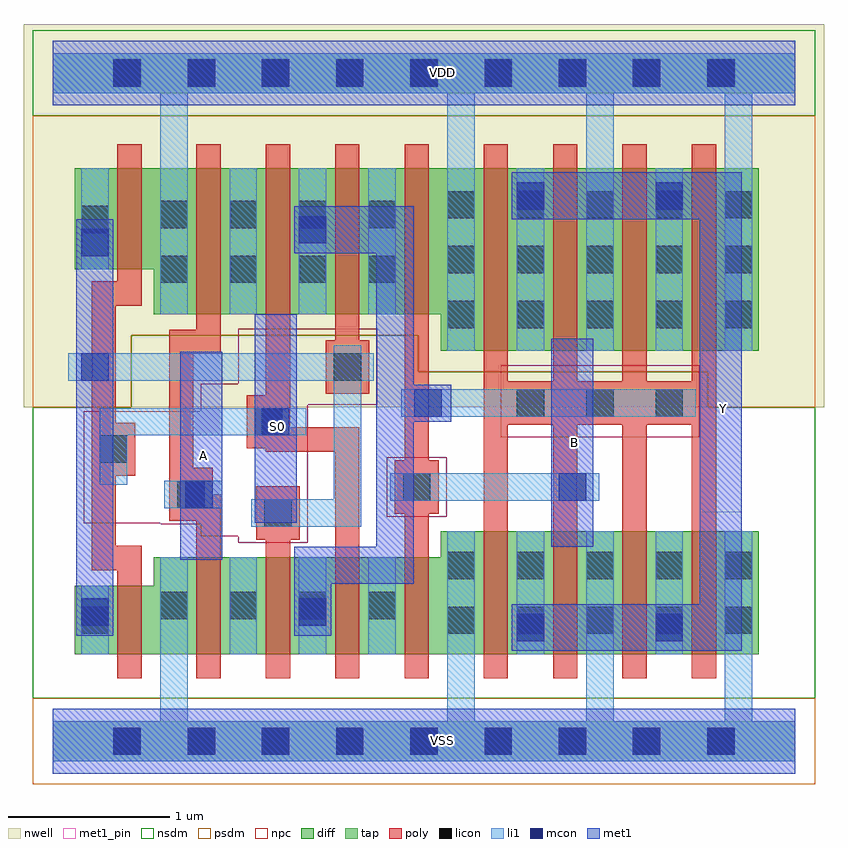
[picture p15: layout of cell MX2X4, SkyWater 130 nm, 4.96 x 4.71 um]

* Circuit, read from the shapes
.subckt MX2X4 A B S0 VDD VSS Y
XM1 VSS S0 n1 VSS sky130_fd_pr__nfet_01v8 w=0.425 l=0.15
XM2 n2 A VSS VSS sky130_fd_pr__nfet_01v8 w=0.6 l=0.15
XM3 n3 n1 n2 VSS sky130_fd_pr__nfet_01v8 w=0.6 l=0.15
XM4 n4 S0 n3 VSS sky130_fd_pr__nfet_01v8 w=0.6 l=0.15
XM5 VSS B n4 VSS sky130_fd_pr__nfet_01v8 w=0.6 l=0.15
XM6 Y n3 VSS VSS sky130_fd_pr__nfet_01v8 w=0.76 l=0.15 m=4
XM7 VDD S0 n1 VDD sky130_fd_pr__pfet_01v8 w=0.625 l=0.15
XM8 n5 A VDD VDD sky130_fd_pr__pfet_01v8 w=0.905 l=0.15
XM9 n3 S0 n5 VDD sky130_fd_pr__pfet_01v8 w=0.905 l=0.15
XM10 n6 n1 n3 VDD sky130_fd_pr__pfet_01v8 w=0.905 l=0.15
XM11 VDD B n6 VDD sky130_fd_pr__pfet_01v8 w=0.905 l=0.15
XM12 Y n3 VDD VDD sky130_fd_pr__pfet_01v8 w=1.13 l=0.15 m=4
.ends

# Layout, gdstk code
from math import pi, radians
import gdstk
lib = gdstk.Library(unit=1e-6, precision=1e-09)
def R(c, l, rs):  # rectangles x0, y0, x1, y1
    for r in rs: c.add(gdstk.rectangle(r[:2], r[2:], *l))
def A(c, l, x, y, w, h, nx, ny, dx, dy):  # array of equal rectangles
    R(c, l, [(x+i*dx, y+j*dy, x+i*dx+w, y+j*dy+h) for i in range(nx) for j in range(ny)])
def P(c, l, *ps):  # polygons
    for p in ps: c.add(gdstk.Polygon(p, *l))
nwell = (64, 20)
diff = (65, 20)
tap = (65, 44)
poly = (66, 20)
licon = (66, 44)
li1 = (67, 20)
mcon = (67, 44)
met1_pin = (68, 16)
met1 = (68, 20)
nsdm = (93, 44)
psdm = (94, 20)
npc = (95, 20)

pyl1con_c_cdns_750710154 = lib.new_cell('PYL1CON_C_CDNS_750710154092')
R(pyl1con_c_cdns_750710154, poly, [(-0.135,-0.165,0.135,0.165)])
R(pyl1con_c_cdns_750710154, licon, [(-0.085,-0.085,0.085,0.085)])
R(pyl1con_c_cdns_750710154, npc, [(-0.185,-0.185,0.185,0.185)])

l1m1_c_cdns_750710154091 = lib.new_cell('L1M1_C_CDNS_750710154091')
R(l1m1_c_cdns_750710154091, li1, [(-0.085,-0.165,0.085,0.165)])
R(l1m1_c_cdns_750710154091, mcon, [(-0.085,-0.085,0.085,0.085)])
R(l1m1_c_cdns_750710154091, met1, [(-0.115,-0.145,0.115,0.145)])

l1m1_c_cdns_750710154093 = lib.new_cell('L1M1_C_CDNS_750710154093')
R(l1m1_c_cdns_750710154093, li1, [(-0.085,-0.165,0.085,0.165)])
R(l1m1_c_cdns_750710154093, mcon, [(-0.085,-0.085,0.085,0.085)])
R(l1m1_c_cdns_750710154093, met1, [(-0.145,-0.115,0.145,0.115)])

l1m1_c_cdns_750710154092 = lib.new_cell('L1M1_C_CDNS_7507101540920')
R(l1m1_c_cdns_750710154092, li1, [(-0.165,-0.085,0.145,0.085)])
R(l1m1_c_cdns_750710154092, mcon, [(-0.085,-0.085,0.085,0.085)])
R(l1m1_c_cdns_750710154092, met1, [(-0.115,-0.145,0.115,0.145)])

l1m1_c_cdns_750710154090 = lib.new_cell('L1M1_C_CDNS_750710154090')
R(l1m1_c_cdns_750710154090, li1, [(-0.165,-0.085,0.165,0.085)])
R(l1m1_c_cdns_750710154090, mcon, [(-0.085,-0.085,0.085,0.085)])
R(l1m1_c_cdns_750710154090, met1, [(-0.115,-0.145,0.115,0.145)])

c_pyl1con_c_cdns_750710154 = lib.new_cell('PYL1CON_C_CDNS_7507101540912')
R(c_pyl1con_c_cdns_750710154, poly, [(-0.165,-0.135,0.165,0.135)])
R(c_pyl1con_c_cdns_750710154, licon, [(-0.085,-0.085,0.085,0.085)])
R(c_pyl1con_c_cdns_750710154, npc, [(-0.185,-0.185,0.185,0.185)])

licondiff_c_cdns_7507101 = lib.new_cell('LICONDIFF_C_CDNS_7507101540911')
R(licondiff_c_cdns_7507101, diff, [(-0.125,-0.145,0.125,0.145)])
R(licondiff_c_cdns_7507101, licon, [(-0.085,-0.085,0.085,0.085), (-0.085,-0.085,0.085,0.085)])

mx2x4 = lib.new_cell('MX2X4')
R(mx2x4, nwell, [(-0.18,2.07,4.78,4.305), (2.225,2.24,4.555,3.73), (0.445,2.465,1.445,3.73), (1.085,2.465,1.875,3.73), (1.515,2.465,2.305,3.73), (1.945,2.465,2.585,3.73), (-0.045,2.745,0.805,3.73), (-0.18,3.875,4.78,4.445)])
A(mx2x4, diff, 0.89, 0.54, 0.15, 0.6, 4, 1, 0.43, 0)
A(mx2x4, diff, 2.67, 0.54, 0.15, 0.76, 4, 1, 0.43, 0)
A(mx2x4, diff, 2.82, 0.54, 0.28, 0.76, 3, 1, 0.43, 0)
A(mx2x4, diff, 2.67, 2.42, 0.15, 1.13, 4, 1, 0.43, 0)
A(mx2x4, diff, 2.82, 2.42, 0.28, 1.13, 3, 1, 0.43, 0)
A(mx2x4, diff, 0.89, 2.645, 0.15, 0.905, 4, 1, 0.43, 0)
A(mx2x4, diff, 1.04, 2.645, 0.225, 0.905, 3, 1, 0.43, 0)
A(mx2x4, diff, 1.265, 2.645, 0.055, 0.905, 3, 1, 0.43, 0)
R(mx2x4, diff, [(0.135,0.54,0.4,0.965), (0.4,0.54,0.55,0.965), (0.55,0.54,0.625,0.965), (0.625,0.54,0.89,1.14), (1.04,0.54,1.095,1.14), (1.095,0.54,1.32,1.14), (1.47,0.54,1.695,1.14), (1.695,0.54,1.75,1.14), (1.9,0.54,2.125,1.14), (2.125,0.54,2.18,1.14), (2.33,0.54,2.405,1.14), (2.405,0.54,2.67,1.3), (4.11,0.54,4.375,1.3), (2.405,2.42,2.67,3.55), (4.11,2.42,4.375,3.55), (0.625,2.645,0.89,3.55), (2.33,2.645,2.405,3.55), (0.135,2.925,0.4,3.55), (0.4,2.925,0.55,3.55), (0.55,2.925,0.625,3.55)])
A(mx2x4, poly, 0.89, 0.39, 0.15, 0.055, 4, 2, 0.43, 3.255)
A(mx2x4, poly, 2.67, 0.39, 0.15, 0.055, 4, 2, 0.43, 1.005)
A(mx2x4, poly, 0.89, 0.445, 0.15, 0.095, 4, 2, 0.43, 3.105)
A(mx2x4, poly, 2.67, 0.445, 0.15, 0.095, 4, 2, 0.43, 0.855)
A(mx2x4, poly, 0.89, 0.54, 0.15, 0.6, 4, 1, 0.43, 0)
A(mx2x4, poly, 2.67, 0.54, 0.15, 0.76, 4, 1, 0.43, 0)
A(mx2x4, poly, 1.32, 1.14, 0.15, 0.095, 3, 1, 0.43, 0)
A(mx2x4, poly, 1.32, 1.235, 0.15, 0.055, 3, 1, 0.43, 0)
A(mx2x4, poly, 2.67, 2.22, 0.15, 0.055, 4, 2, 0.43, 1.425)
A(mx2x4, poly, 2.67, 2.325, 0.15, 0.095, 4, 2, 0.43, 1.225)
A(mx2x4, poly, 2.67, 2.42, 0.15, 1.13, 4, 1, 0.43, 0)
A(mx2x4, poly, 0.89, 2.445, 0.15, 0.055, 3, 1, 0.43, 0)
A(mx2x4, poly, 0.89, 2.645, 0.15, 0.905, 4, 1, 0.43, 0)
R(mx2x4, poly, [(0.4,0.39,0.55,0.445), (0.4,0.445,0.55,0.54), (0.4,0.54,0.55,0.965), (0.4,0.965,0.55,1.06), (0.4,1.06,0.55,1.115), (0.89,1.14,1.04,1.28), (0.89,1.32,1.04,1.375), (1.75,2.48,1.9,2.645), (2.18,2.495,2.33,2.55), (0.89,2.55,1.04,2.645), (1.32,2.55,1.47,2.645), (2.18,2.55,2.33,2.645), (0.4,2.775,0.55,2.83), (0.4,2.83,0.55,2.925), (0.4,2.925,0.55,3.55), (0.4,3.55,0.55,3.645), (0.4,3.645,0.55,3.7)])
A(mx2x4, licon, 0.375, -0.085, 0.17, 0.17, 9, 2, 0.46, 4.14)
A(mx2x4, licon, 2.445, 0.665, 0.17, 0.17, 5, 2, 0.43, 0.34)
A(mx2x4, licon, 2.445, 2.56, 0.17, 0.17, 5, 3, 0.43, 0.34)
R(mx2x4, licon, [(0.175,0.665,0.345,0.835), (0.665,0.755,0.835,0.925), (1.525,0.755,1.695,0.925), (0.665,2.84,0.835,3.01), (1.525,2.84,1.695,3.01), (0.175,3.15,0.345,3.32), (0.665,3.18,0.835,3.35), (1.525,3.18,1.695,3.35)])
A(mx2x4, li1, 2.445, 0.54, 0.17, 0.76, 5, 1, 0.43, 0)
A(mx2x4, li1, 2.445, 2.42, 0.17, 1.13, 5, 1, 0.43, 0)
R(mx2x4, li1, [(0.175,0.54,0.345,0.965), (0.665,0.54,0.835,1.14), (1.525,0.54,1.695,1.14), (0.665,2.645,0.835,3.55), (1.525,2.645,1.695,3.55), (0.175,2.925,0.345,3.55)])
A(mx2x4, mcon, 0.375, -0.085, 0.17, 0.17, 9, 2, 0.46, 4.14)
R(mx2x4, met1_pin, [(0.79,1.125,1.05,2.415), (3.09,1.205,3.35,2.495), (1.25,1.355,1.51,2.645), (4.01,1.42,4.27,2.71)])
R(mx2x4, nsdm, [(-0.005,0.41,0.505,1.095), (0.485,0.41,1.105,1.27), (1.085,0.41,1.705,1.27), (1.685,0.41,2.135,1.27), (2.115,0.41,2.285,1.27), (2.265,0.41,4.515,1.43), (-0.125,3.875,4.725,4.405), (-0.125,3.93,4.725,4.35)])
P(mx2x4, nsdm, [(4.725,2.07),(4.06,2.07),(4.06,2.29),(2.265,2.29),(2.265,2.515),(0.485,2.515),(0.485,2.07),(-0.125,2.07),(-0.125,0.265),(4.725,0.265)])
R(mx2x4, psdm, [(-0.125,-0.265,4.725,0.265), (-0.125,-0.21,4.725,0.21), (2.265,2.29,4.515,3.68), (0.485,2.515,1.275,3.68), (1.255,2.515,1.705,3.68), (1.685,2.515,2.135,3.68), (2.115,2.515,2.285,3.68), (-0.005,2.795,0.505,3.68)])
P(mx2x4, psdm, [(4.725,3.875),(-0.125,3.875),(-0.125,2.07),(0.485,2.07),(0.485,2.515),(2.265,2.515),(2.265,2.29),(4.06,2.29),(4.06,2.07),(4.725,2.07)])
R(mx2x4, npc, [(1.15,1.23,1.58,2.215), (0.915,1.27,1.21,2.215), (0.19,1.35,0.915,2.045), (2.775,1.885,4.005,2.33), (1.15,2.085,2.01,2.555)])
mx2x4.add(gdstk.FlexPath([(0,0),(4.6,0)], 0.25, ends="flush", simple_path=True, layer=67, datatype=20))  # li1
mx2x4.add(gdstk.FlexPath([(2.44,2.095),(3.985,2.095)], 0.17, ends="flush", simple_path=True, layer=67, datatype=20))  # li1
mx2x4.add(gdstk.FlexPath([(2.53,3.55),(2.53,4.265)], 0.17, ends="flush", simple_path=True, layer=67, datatype=20))  # li1
mx2x4.add(gdstk.FlexPath([(4.25,-0.125),(4.25,0.54)], 0.17, ends="flush", simple_path=True, layer=67, datatype=20))  # li1
mx2x4.add(gdstk.FlexPath([(1.825,1.33),(1.825,2.455)], 0.17, ends="flush", simple_path=True, layer=67, datatype=20))  # li1
mx2x4.add(gdstk.FlexPath([(2.655,1.575),(2.09,1.575)], 0.17, ends="flush", simple_path=True, layer=67, datatype=20))  # li1
mx2x4.add(gdstk.FlexPath([(0.765,1.53),(1.05,1.53)], 0.17, ends=(0.075, 0), simple_path=True, layer=67, datatype=20))  # li1
mx2x4.add(gdstk.FlexPath([(2.04,2.645),(2.04,3.55)], 0.17, ends="flush", simple_path=True, layer=67, datatype=20))  # li1
mx2x4.add(gdstk.FlexPath([(0.75,-0.125),(0.75,0.54)], 0.17, ends="flush", simple_path=True, layer=67, datatype=20))  # li1
mx2x4.add(gdstk.FlexPath([(2.53,-0.125),(2.53,0.54)], 0.17, ends="flush", simple_path=True, layer=67, datatype=20))  # li1
mx2x4.add(gdstk.FlexPath([(1.91,1.415),(1.23,1.415)], 0.17, ends="flush", simple_path=True, layer=67, datatype=20))  # li1
mx2x4.add(gdstk.FlexPath([(1.18,0.54),(1.18,1.14)], 0.17, ends="flush", simple_path=True, layer=67, datatype=20))  # li1
mx2x4.add(gdstk.FlexPath([(1.57,1.98),(0.29,1.98)], 0.17, ends="flush", simple_path=True, layer=67, datatype=20))  # li1
mx2x4.add(gdstk.FlexPath([(0.75,3.55),(0.75,4.265)], 0.17, ends="flush", simple_path=True, layer=67, datatype=20))  # li1
mx2x4.add(gdstk.FlexPath([(4.25,3.55),(4.25,4.265)], 0.17, ends="flush", simple_path=True, layer=67, datatype=20))  # li1
mx2x4.add(gdstk.FlexPath([(1.99,2.32),(0.095,2.32)], 0.17, ends="flush", simple_path=True, layer=67, datatype=20))  # li1
mx2x4.add(gdstk.FlexPath([(3.22,1.575),(2.655,1.575)], 0.17, ends="flush", simple_path=True, layer=67, datatype=20))  # li1
mx2x4.add(gdstk.FlexPath([(1.18,2.645),(1.18,3.55)], 0.17, ends="flush", simple_path=True, layer=67, datatype=20))  # li1
mx2x4.add(gdstk.FlexPath([(4.34,4.14),(4.6,4.14)], 0.25, ends=(0.085, 0), simple_path=True, layer=67, datatype=20))  # li1
mx2x4.add(gdstk.FlexPath([(0.69,4.14),(2.47,4.14)], 0.25, ends=(0.085, 0.085), simple_path=True, layer=67, datatype=20))  # li1
mx2x4.add(gdstk.FlexPath([(3.42,4.14),(4.34,4.14)], 0.25, ends=(0.085, 0.085), simple_path=True, layer=67, datatype=20))  # li1
mx2x4.add(gdstk.FlexPath([(3.39,3.55),(3.39,4.265)], 0.17, ends="flush", simple_path=True, layer=67, datatype=20))  # li1
mx2x4.add(gdstk.FlexPath([(3.39,-0.125),(3.39,0.54)], 0.17, ends="flush", simple_path=True, layer=67, datatype=20))  # li1
mx2x4.add(gdstk.FlexPath([(0.375,1.59),(0.375,2.065)], 0.17, ends="flush", simple_path=True, layer=67, datatype=20))  # li1
mx2x4.add(gdstk.FlexPath([(2.04,0.54),(2.04,1.14)], 0.17, ends="flush", simple_path=True, layer=67, datatype=20))  # li1
mx2x4.add(gdstk.FlexPath([(0,4.14),(0.69,4.14)], 0.25, ends=(0, 0.085), simple_path=True, layer=67, datatype=20))  # li1
mx2x4.add(gdstk.FlexPath([(2.47,4.14),(3.42,4.14)], 0.25, ends=(0.085, 0.085), simple_path=True, layer=67, datatype=20))  # li1
mx2x4.add(gdstk.FlexPath([(0.315,2.775),(0.315,1.06)], 0.15, ends=(0.075, 0), simple_path=True, layer=66, datatype=20))  # poly
mx2x4.add(gdstk.FlexPath([(0.72,2.475),(0.795,2.475)], 0.15, ends=(0, 0.075), simple_path=True, layer=66, datatype=20))  # poly
mx2x4.add(gdstk.FlexPath([(0.795,2.475),(0.795,1.465)], 0.15, ends=(0.075, 0), simple_path=True, layer=66, datatype=20))  # poly
mx2x4.add(gdstk.FlexPath([(3.605,2.42),(3.605,1.3)], 0.15, ends="flush", simple_path=True, layer=66, datatype=20))  # poly
mx2x4.add(gdstk.FlexPath([(1.395,2.645),(1.395,1.795)], 0.15, ends="flush", simple_path=True, layer=66, datatype=20))  # poly
mx2x4.add(gdstk.FlexPath([(0.795,2.475),(1.04,2.475)], 0.15, ends=(0.075, 0), simple_path=True, layer=66, datatype=20))  # poly
mx2x4.add(gdstk.FlexPath([(3.175,2.42),(3.175,1.3)], 0.15, ends="flush", simple_path=True, layer=66, datatype=20))  # poly
mx2x4.add(gdstk.FlexPath([(0.24,2.775),(0.315,2.775)], 0.15, ends=(0, 0.075), simple_path=True, layer=66, datatype=20))  # poly
mx2x4.add(gdstk.FlexPath([(0.965,1.53),(0.965,1.14)], 0.15, ends="flush", simple_path=True, layer=66, datatype=20))  # poly
mx2x4.add(gdstk.FlexPath([(0.315,2.775),(0.55,2.775)], 0.15, ends=(0.075, 0), simple_path=True, layer=66, datatype=20))  # poly
mx2x4.add(gdstk.FlexPath([(2.745,2.42),(2.745,1.3)], 0.15, ends="flush", simple_path=True, layer=66, datatype=20))  # poly
mx2x4.add(gdstk.FlexPath([(0.315,2.85),(0.315,2.775)], 0.15, ends=(0, 0.075), simple_path=True, layer=66, datatype=20))  # poly
mx2x4.add(gdstk.FlexPath([(1.825,1.14),(1.825,1.945)], 0.15, ends="flush", simple_path=True, layer=66, datatype=20))  # poly
mx2x4.add(gdstk.FlexPath([(0.965,2.645),(0.965,2.45)], 0.15, ends="flush", simple_path=True, layer=66, datatype=20))  # poly
mx2x4.add(gdstk.FlexPath([(2.255,2.645),(2.255,1.14)], 0.15, ends="flush", simple_path=True, layer=66, datatype=20))  # poly
mx2x4.add(gdstk.FlexPath([(4.035,2.42),(4.035,1.3)], 0.15, ends="flush", simple_path=True, layer=66, datatype=20))  # poly
mx2x4.add(gdstk.FlexPath([(1.9,1.87),(1.32,1.87)], 0.15, ends="flush", simple_path=True, layer=66, datatype=20))  # poly
mx2x4.add(gdstk.FlexPath([(1.395,1.14),(1.395,1.58)], 0.15, ends="flush", simple_path=True, layer=66, datatype=20))  # poly
mx2x4.add(gdstk.FlexPath([(0.24,1.135),(0.55,1.135)], 0.15, ends="flush", simple_path=True, layer=66, datatype=20))  # poly
mx2x4.add(gdstk.FlexPath([(0,4.14),(4.6,4.14)], 0.25, ends="flush", simple_path=True, layer=65, datatype=44))  # tap
mx2x4.add(gdstk.FlexPath([(0,0),(4.6,0)], 0.25, ends="flush", simple_path=True, layer=65, datatype=44))  # tap
mx2x4.add(gdstk.FlexPath([(0,4.14),(4.6,4.14)], 0.4, ends="flush", simple_path=True, layer=68, datatype=20))  # met1
mx2x4.add(gdstk.FlexPath([(1.61,0.655),(1.61,1.205)], 0.23, ends="flush", simple_path=True, layer=68, datatype=20))  # met1
mx2x4.add(gdstk.FlexPath([(1.495,1.09),(2.235,1.09)], 0.23, ends="flush", simple_path=True, layer=68, datatype=20))  # met1
mx2x4.add(gdstk.FlexPath([(2.96,0.705),(4.14,0.705)], 0.29, ends="flush", simple_path=True, layer=68, datatype=20))  # met1
mx2x4.add(gdstk.FlexPath([(1.495,3.17),(2.235,3.17)], 0.29, ends="flush", simple_path=True, layer=68, datatype=20))  # met1
mx2x4.add(gdstk.FlexPath([(0,0),(4.6,0)], 0.4, ends="flush", simple_path=True, layer=68, datatype=20))  # met1
mx2x4.add(gdstk.FlexPath([(2.12,0.975),(2.12,3.025)], 0.23, ends="flush", simple_path=True, layer=68, datatype=20))  # met1
mx2x4.add(gdstk.FlexPath([(0.26,0.655),(0.26,3.235)], 0.23, ends="flush", simple_path=True, layer=68, datatype=20))  # met1
mx2x4.add(gdstk.FlexPath([(3.82,3.38),(4.14,3.38)], 0.29, ends="flush", simple_path=True, layer=68, datatype=20))  # met1
mx2x4.add(gdstk.FlexPath([(0.92,1.125),(0.92,2.415)], 0.26, ends="flush", simple_path=True, layer=68, datatype=20))  # met1
mx2x4.add(gdstk.FlexPath([(1.38,1.355),(1.38,2.645)], 0.26, ends="flush", simple_path=True, layer=68, datatype=20))  # met1
mx2x4.add(gdstk.FlexPath([(2.96,3.38),(3.82,3.38)], 0.29, ends="flush", simple_path=True, layer=68, datatype=20))  # met1
mx2x4.add(gdstk.FlexPath([(3.22,1.205),(3.22,2.495)], 0.26, ends="flush", simple_path=True, layer=68, datatype=20))  # met1
mx2x4.add(gdstk.FlexPath([(4.14,3.525),(4.14,0.56)], 0.26, ends="flush", simple_path=True, layer=68, datatype=20))  # met1
mx2x4.add(gdstk.FlexPath([(0,4.14),(4.6,4.14)], 0.4, ends="flush", simple_path=True, layer=68, datatype=16))  # met1_pin
mx2x4.add(gdstk.FlexPath([(0,0),(4.6,0)], 0.4, ends="flush", simple_path=True, layer=68, datatype=16))  # met1_pin
mx2x4.add(gdstk.Reference(pyl1con_c_cdns_750710154, (0.855,1.53), x_reflection=True))
mx2x4.add(gdstk.Reference(pyl1con_c_cdns_750710154, (0.375,1.81), x_reflection=True))
mx2x4.add(gdstk.Reference(pyl1con_c_cdns_750710154, (2.255,1.575), x_reflection=True))
mx2x4.add(gdstk.Reference(pyl1con_c_cdns_750710154, (2.96,2.095), rotation=3*pi/2))
mx2x4.add(gdstk.Reference(pyl1con_c_cdns_750710154, (1.825,2.32), x_reflection=True))
mx2x4.add(gdstk.Reference(pyl1con_c_cdns_750710154, (1.395,1.415)))
mx2x4.add(gdstk.Reference(pyl1con_c_cdns_750710154, (3.39,2.095), rotation=3*pi/2))
mx2x4.add(gdstk.Reference(pyl1con_c_cdns_750710154, (3.82,2.095), rotation=3*pi/2))
mx2x4.add(gdstk.Reference(l1m1_c_cdns_750710154091, (2.325,2.095), rotation=pi/2))
mx2x4.add(gdstk.Reference(l1m1_c_cdns_750710154091, (1.61,0.8)))
mx2x4.add(gdstk.Reference(l1m1_c_cdns_750710154091, (1.61,3.17)))
mx2x4.add(gdstk.Reference(l1m1_c_cdns_750710154091, (3.82,0.705)))
mx2x4.add(gdstk.Reference(l1m1_c_cdns_750710154091, (3.82,3.38)))
mx2x4.add(gdstk.Reference(l1m1_c_cdns_750710154091, (2.96,0.705)))
mx2x4.add(gdstk.Reference(l1m1_c_cdns_750710154091, (2.96,3.38)))
mx2x4.add(gdstk.Reference(l1m1_c_cdns_750710154091, (0.26,3.09)))
mx2x4.add(gdstk.Reference(l1m1_c_cdns_750710154091, (0.26,0.8)))
mx2x4.add(gdstk.Reference(l1m1_c_cdns_750710154093, (0.26,2.32), rotation=pi/2))
mx2x4.add(gdstk.Reference(l1m1_c_cdns_750710154092, (0.905,1.53), x_reflection=True))
mx2x4.add(gdstk.Reference(l1m1_c_cdns_750710154090, (1.38,1.98), x_reflection=True))
mx2x4.add(gdstk.Reference(l1m1_c_cdns_750710154090, (3.22,1.575), x_reflection=True))
mx2x4.add(gdstk.Reference(c_pyl1con_c_cdns_750710154, (1.335,1.98), rotation=pi/2, x_reflection=True))
mx2x4.add(gdstk.Reference(licondiff_c_cdns_7507101, (2.04,2.925)))
mx2x4.add(gdstk.Reference(licondiff_c_cdns_7507101, (1.18,2.925)))
mx2x4.add(gdstk.Reference(licondiff_c_cdns_7507101, (2.04,0.84)))
mx2x4.add(gdstk.Reference(licondiff_c_cdns_7507101, (2.04,3.265)))
mx2x4.add(gdstk.Reference(licondiff_c_cdns_7507101, (1.18,0.84)))
mx2x4.add(gdstk.Reference(licondiff_c_cdns_7507101, (1.18,3.265)))
mx2x4.add(gdstk.Label('VDD', (2.415,4.145), layer=68, texttype=5))
mx2x4.add(gdstk.Label('B', (3.235,1.85), layer=68, texttype=5))
mx2x4.add(gdstk.Label('A', (0.935,1.77), layer=68, texttype=5))
mx2x4.add(gdstk.Label('S0', (1.395,1.95), layer=68, texttype=5))
mx2x4.add(gdstk.Label('Y', (4.155,2.065), layer=68, texttype=5))
mx2x4.add(gdstk.Label('VSS', (2.415,0.005), layer=68, texttype=5))

lib.write_gds('MX2X4.gds')
